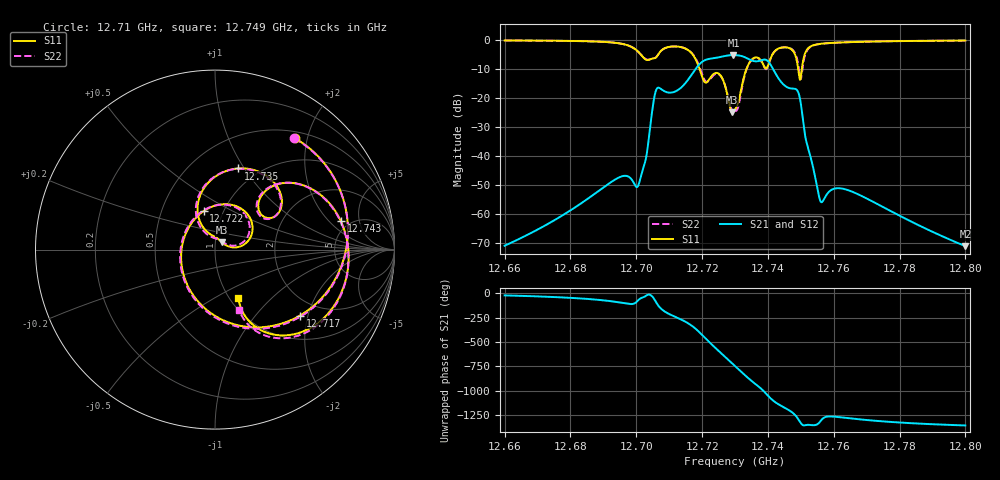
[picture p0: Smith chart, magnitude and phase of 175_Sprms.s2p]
! TOUCHSTONE file generated by CST MICROWAVE STUDIO
! Date and time: Wed Jul 31 19:43:31 2024
! Project name: WaveGuide_BPF-Ver4.1_U-shape_Ku_T3_C4_CWA_2.cst
! Parameters = {cavity_h=16; cavity_l0=10; cavity_l1=15.1732; cavity_l2=16.8625; cavity_l3=17.124; cavity_l4=17.255; cavity_l5=17.1254; cavity_l6=17.6228; cavity_r=2.5; cavity_screw_l=0.5; cavity_screw_r=1.5; cavity_w=8; iris_h00=0; iris_h01=8.8248; iris_h112=0; iris_h12=5.6104; iris_h211=3.6598; ir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
! Header version: 2018
! Port assignment regex: !\s*Touchstone port\s*([0-9]+)\s*=\s*(CST MWS port|CST DS port)\s*([0-9]+|Zmin|Zmax)\s*\(\"(.*)\"\)(\s*mode\s*([0-9]+))?.*
! Touchstone port assignment:
! Touchstone port 1 = CST MWS port 1 ("")
! Touchstone port 2 = CST MWS port 2 ("")
# GHz S RI R 50
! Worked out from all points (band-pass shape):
!   5001 points, 12.66 GHz to 12.8 GHz, reference 50 ohm
!   highest |S21| = -5.22 dB at 12.73 GHz (marker M1); lowest = -71.1 dB at 12.8 GHz (marker M2)
!   |S21| within 3 dB of the highest: 12.71931 GHz to 12.74065 GHz (21.33 MHz wide, 0.168 % of centre)
!   lowest |S11| = -25.0 dB at 12.729 GHz (marker M3), VSWR 1.12, Z = 53.7 + j4.5 ohm
!   |S11| at or under -10 dB: 12.71923 GHz to 12.73347 GHz (14.24 MHz wide, 0.112 % of centre); 12.74921 GHz to 12.7503 GHz (1.089 MHz wide, 0.00854 % of centre)
!   |S22| runs from -24.5 to -0.2 dB; largest |S21 - S12| = 1e-09
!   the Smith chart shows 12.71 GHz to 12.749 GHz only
!   S11 on the Smith chart (normalised r, x): 12.71 GHz: 0.60, +1.79; 12.717 GHz: 1.56, -1.78; 12.722 GHz: 0.81, +0.36; 12.735 GHz: 0.81, +0.94; 12.743 GHz: 4.24, +2.77; 12.749 GHz: 1.10, -0.65
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12.66  0.275 0.9431  0.000264 -9.94e-05  0.000264 -9.94e-05  0.2814 0.9411
12.68335  0.6887 0.6646  0.000932 -0.00122  0.000932 -0.00122  0.6969 0.6555
12.69556  0.8609 -0.0269  -0.000528 -0.00441  -0.000528 -0.00441  0.8595 -0.0454
12.70071  0.2166 -0.5764  0.00131 -0.00293  0.00131 -0.00293  0.2075 -0.5849
12.70357  -0.4444 -0.0777  0.0151 -0.00354  0.0151 -0.00354  -0.4496 -0.09
12.70668  -0.1629 0.5418  -0.0852 -0.1241  -0.0852 -0.1241  -0.1717 0.5396
12.71009  0.4445 0.6209  -0.103 0.0682  -0.103 0.0682  0.4418 0.6201
12.71673  0.4736 -0.3673  0.2116 0.1288  0.2116 0.1288  0.4822 -0.3698
12.7225  -0.0639 0.2141  -0.4155 -0.2339  -0.4155 -0.2339  -0.1061 0.1848
12.72614  0.2029 0.0809  -0.0435 0.5165  -0.0435 0.5165  0.1918 0.1009
12.72916  0.0379 0.0417  0.548 0.00542  0.548 0.00542  0.0458 0.0413
12.72952  0.028 0.0512  0.5387 -0.1025  0.5387 -0.1025  0.0359 0.0481
12.73  0.016 0.0614  0.494 -0.2368  0.494 -0.2368  0.0233 0.0549
12.73224  -0.0837 0.1559  -0.0545 -0.5212  -0.0545 -0.5212  -0.0884 0.1395
12.73526  0.1289 0.452  -0.438 0.0371  -0.438 0.0371  0.1159 0.4491
12.73851  0.3366 0.1872  0.0546 0.4533  0.0546 0.4533  0.3307 0.1823
12.74338  0.7016 0.1576  0.098 -0.1867  0.098 -0.1867  0.6993 0.1577
12.74926  0.1309 -0.2714  -0.1013 0.07  -0.1013 0.07  0.1338 -0.3343
12.75335  0.5956 -0.5252  0.000432 0.00785  0.000432 0.00785  0.5813 -0.5305
12.75624  0.3318 -0.7958  -0.0012 0.00105  -0.0012 0.00105  0.3109 -0.8031
12.77668  -0.8444 -0.4403  -0.000607 0.000999  -0.000607 0.000999  -0.8528 -0.4255
12.8  -0.9651 0.1568  3.03e-05 0.000276  3.03e-05 0.000276  -0.9638 0.1663
